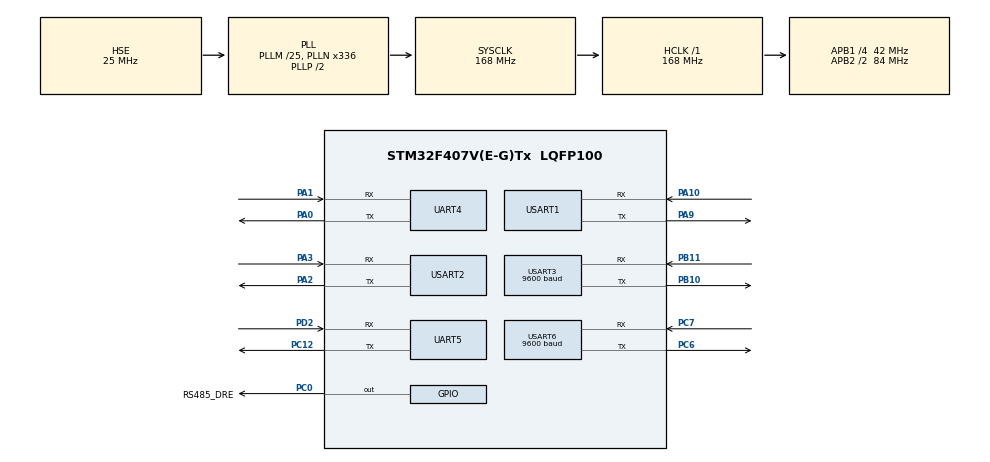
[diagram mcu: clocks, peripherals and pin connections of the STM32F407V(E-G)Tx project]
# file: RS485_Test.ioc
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Mcu.Family=STM32F4
Mcu.Name=STM32F407V(E-G)Tx
Mcu.Package=LQFP100
NVIC.PriorityGroup=NVIC_PRIORITYGROUP_4
NVIC.UART4_IRQn=true\:0\:0\:false\:false\:true\:true\:true\:true
NVIC.UART5_IRQn=true\:0\:0\:false\:false\:true\:true\:true\:true
NVIC.USART1_IRQn=true\:0\:0\:false\:false\:true\:true\:true\:true
NVIC.USART2_IRQn=true\:0\:0\:false\:false\:true\:true\:true\:true
NVIC.USART3_IRQn=true\:0\:0\:false\:false\:true\:true\:true\:true
NVIC.USART6_IRQn=true\:0\:0\:false\:false\:true\:true\:true\:true
PA0-WKUP.Mode=Asynchronous
PA0-WKUP.Signal=UART4_TX
PA1.Mode=Asynchronous
PA1.Signal=UART4_RX
PA10.Mode=Asynchronous
PA10.Signal=USART1_RX
PA13.Mode=Serial_Wire
PA13.Signal=SYS_JTMS-SWDIO
PA14.Mode=Serial_Wire
PA14.Signal=SYS_JTCK-SWCLK
PA2.Mode=Asynchronous
PA2.Signal=USART2_TX
PA3.Mode=Asynchronous
PA3.Signal=USART2_RX
PA9.Mode=Asynchronous
PA9.Signal=USART1_TX
PB10.Mode=Asynchronous
PB10.Signal=USART3_TX
PB11.Mode=Asynchronous
PB11.Signal=USART3_RX
PC0.GPIO_Label=RS485_DRE
PC0.Signal=GPIO_Output
PC12.Mode=Asynchronous
PC12.Signal=UART5_TX
PC6.Mode=Asynchronous
PC6.Signal=USART6_TX
PC7.Mode=Asynchronous
PC7.Signal=USART6_RX
PD2.Mode=Asynchronous
PD2.Signal=UART5_RX
PH0-OSC_IN.Mode=HSE-External-Oscillator
PH0-OSC_IN.Signal=RCC_OSC_IN
PH1-OSC_OUT.Mode=HSE-External-Oscillator
PH1-OSC_OUT.Signal=RCC_OSC_OUT
ProjectManager.HeapSize=0x200
ProjectManager.StackSize=0x400
ProjectManager.TargetToolchain=STM32CubeIDE
RCC.48MHZClocksFreq_Value=84000000
RCC.AHBFreq_Value=168000000
RCC.APB1CLKDivider=RCC_HCLK_DIV4
RCC.APB1Freq_Value=42000000
RCC.APB1TimFreq_Value=84000000
RCC.APB2CLKDivider=RCC_HCLK_DIV2
RCC.APB2Freq_Value=84000000
RCC.APB2TimFreq_Value=168000000
RCC.CortexFreq_Value=168000000
RCC.HCLKFreq_Value=168000000
RCC.HSE_VALUE=25000000
RCC.HSI_VALUE=16000000
RCC.LSE_VALUE=32768
RCC.PLLM=25
RCC.PLLN=336
RCC.PLLSourceVirtual=RCC_PLLSOURCE_HSE
RCC.SYSCLKFreq_VALUE=168000000
RCC.SYSCLKSource=RCC_SYSCLKSOURCE_PLLCLK
RCC.VCOOutputFreq_Value=336000000
UART4.VirtualMode=Asynchronous
UART5.VirtualMode=Asynchronous
USART1.VirtualMode=VM_ASYNC
USART2.VirtualMode=VM_ASYNC
USART3.BaudRate=9600
USART3.VirtualMode=VM_ASYNC
USART6.BaudRate=9600
USART6.VirtualMode=VM_ASYNC
board=custom

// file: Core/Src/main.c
/* USER CODE BEGIN Header */
/**
  ******************************************************************************
  * @file           : main.c
  * @brief          : Main program body
  ******************************************************************************
  * @attention
  *
  * Copyright (c) 2023 STMicroelectronics.
  * All rights reserved.
  *
  * This software is licensed under terms that can be found in the LICENSE file
  * in the root directory of this software component.
  * If no LICENSE file comes with this software, it is provided AS-IS.
  *
  ******************************************************************************
  */
/* USER CODE END Header */
#include "main.h"

/* USER CODE BEGIN Includes */
#include "CRC.h"
#include "STM_LOG.h"
#include "string.h"
/* USER CODE END Includes */

UART_HandleTypeDef huart4;
UART_HandleTypeDef huart5;
UART_HandleTypeDef huart1;
UART_HandleTypeDef huart2;
UART_HandleTypeDef huart3;
UART_HandleTypeDef huart6;

void SystemClock_Config(void);
static void MX_GPIO_Init(void);
static void MX_UART4_Init(void);
static void MX_UART5_Init(void);
static void MX_USART1_UART_Init(void);
static void MX_USART2_UART_Init(void);
static void MX_USART3_UART_Init(void);
static void MX_USART6_UART_Init(void);
/* USER CODE BEGIN PFP */
#define ESP_UART_BufSize 50
#define RS232_UART_BufSize 8
#define RS485_UART_BufSize 8

#define PT100_ADDR  		0x01
#define PT100_FUNC_READ  	0x03
#define PT100_FUNC_WRITE 	0x06
#define PT100_TEMP_REG  	0x00
#define PT100_RES_REG   	0x01
#define PT100_ADDR_REG 		0x02
#define PT100_BAUD_REG 		0x03
/* USER CODE END PFP */

/* USER CODE BEGIN 0 */
char ESP_UART_Buf[ESP_UART_BufSize];

uint8_t RS485_RxData[RS485_UART_BufSize];
uint8_t RS485_TxData[RS485_UART_BufSize];
volatile uint8_t RS485_RxFlag = 0;

uint8_t RS232_RxData[RS232_UART_BufSize];
uint8_t RS232_TxData[RS232_UART_BufSize] = {1, 2, 3, 4, 5, 6, 7, 8};
volatile uint8_t RS232_RxFlag = 0;

__IO uint32_t tick = 0;
const char *TAG = "STM32";

void ModBus_Transmit(uint8_t ID, uint8_t Code, uint16_t Reg_Address, uint8_t Data_Len);
float PT100_ReadTemperature(void);
float PT100_ReadResistance(void);
uint32_t Pt100_ReadBaudRate(void);
uint8_t PT100_ReadAddress(void);

void STM_LOG_Set(char *buf){
	HAL_UART_Transmit(&huart1, (uint8_t *)buf, strlen(buf), 1000);
}

/* USER CODE END 0 */

int main(void)
{

  /* MCU Configuration--------------------------------------------------------*/

  /* Reset of all peripherals, Initializes the Flash interface and the Systick. */
  HAL_Init();

  /* Configure the system clock */
  SystemClock_Config();

  /* Initialize all configured peripherals */
  MX_GPIO_Init();
  MX_UART4_Init();
  MX_UART5_Init();
  MX_USART1_UART_Init();
  MX_USART2_UART_Init();
  MX_USART3_UART_Init();
  MX_USART6_UART_Init();
  /* USER CODE BEGIN 2 */

	STM_LOG_Init(STM_LOG_Set);
	STM_LOG(BOLD_GREEN, TAG, "LOG OKE. ");

  	HAL_GPIO_WritePin(RS485_DRE_GPIO_Port, RS485_DRE_Pin, GPIO_PIN_RESET);

//  	HAL_UARTEx_ReceiveToIdle_IT(&huart1, (uint8_t *)ESP_UART_Buf, ESP_UART_BufSize);
//  	HAL_UARTEx_ReceiveToIdle_IT(&huart3, (uint8_t *)RS232_RxData, RS232_UART_BufSize);
  	HAL_UARTEx_ReceiveToIdle_IT(&huart6, (uint8_t *)RS485_RxData, RS485_UART_BufSize);

	tick = HAL_GetTick();
  /* USER CODE END 2 */

  /* Infinite loop */
  while (1)
  {

    /* USER CODE BEGIN 3 */
	  if(HAL_GetTick() - tick > 1000){
			PT100_ReadTemperature();
			PT100_ReadResistance();
//			HAL_UART_Transmit(&huart1, "Hello ESP32!", strlen("Hello ESP32!"), 1000);

//			HAL_UART_Transmit(&huart3, RS232_TxData, RS232_UART_BufSize, 1000);
			tick = HAL_GetTick();
	  }
  }
  /* USER CODE END 3 */
}

void SystemClock_Config(void)
{
  RCC_OscInitTypeDef RCC_OscInitStruct = {0};
  RCC_ClkInitTypeDef RCC_ClkInitStruct = {0};

  /** Configure the main internal regulator output voltage
  */
  __HAL_RCC_PWR_CLK_ENABLE();
  __HAL_PWR_VOLTAGESCALING_CONFIG(PWR_REGULATOR_VOLTAGE_SCALE1);

  /** Initializes the RCC Oscillators according to the specified parameters
  * in the RCC_OscInitTypeDef structure.
  */
  RCC_OscInitStruct.OscillatorType = RCC_OSCILLATORTYPE_HSE;
  RCC_OscInitStruct.HSEState = RCC_HSE_ON;
  RCC_OscInitStruct.PLL.PLLState = RCC_PLL_ON;
  RCC_OscInitStruct.PLL.PLLSource = RCC_PLLSOURCE_HSE;
  RCC_OscInitStruct.PLL.PLLM = 25;
  RCC_OscInitStruct.PLL.PLLN = 336;
  RCC_OscInitStruct.PLL.PLLP = RCC_PLLP_DIV2;
  RCC_OscInitStruct.PLL.PLLQ = 4;
  if (HAL_RCC_OscConfig(&RCC_OscInitStruct) != HAL_OK)
  {
    Error_Handler();
  }

  /** Initializes the CPU, AHB and APB buses clocks
  */
  RCC_ClkInitStruct.ClockType = RCC_CLOCKTYPE_HCLK|RCC_CLOCKTYPE_SYSCLK
                              |RCC_CLOCKTYPE_PCLK1|RCC_CLOCKTYPE_PCLK2;
  RCC_ClkInitStruct.SYSCLKSource = RCC_SYSCLKSOURCE_PLLCLK;
  RCC_ClkInitStruct.AHBCLKDivider = RCC_SYSCLK_DIV1;
  RCC_ClkInitStruct.APB1CLKDivider = RCC_HCLK_DIV4;
  RCC_ClkInitStruct.APB2CLKDivider = RCC_HCLK_DIV2;

  if (HAL_RCC_ClockConfig(&RCC_ClkInitStruct, FLASH_LATENCY_5) != HAL_OK)
  {
    Error_Handler();
  }
}

static void MX_UART4_Init(void)
{

  huart4.Instance = UART4;
  huart4.Init.BaudRate = 115200;
  huart4.Init.WordLength = UART_WORDLENGTH_8B;
  huart4.Init.StopBits = UART_STOPBITS_1;
  huart4.Init.Parity = UART_PARITY_NONE;
  huart4.Init.Mode = UART_MODE_TX_RX;
  huart4.Init.HwFlowCtl = UART_HWCONTROL_NONE;
  huart4.Init.OverSampling = UART_OVERSAMPLING_16;
  if (HAL_UART_Init(&huart4) != HAL_OK)
  {
    Error_Handler();
  }

}

static void MX_UART5_Init(void)
{

  huart5.Instance = UART5;
  huart5.Init.BaudRate = 115200;
  huart5.Init.WordLength = UART_WORDLENGTH_8B;
  huart5.Init.StopBits = UART_STOPBITS_1;
  huart5.Init.Parity = UART_PARITY_NONE;
  huart5.Init.Mode = UART_MODE_TX_RX;
  huart5.Init.HwFlowCtl = UART_HWCONTROL_NONE;
  huart5.Init.OverSampling = UART_OVERSAMPLING_16;
  if (HAL_UART_Init(&huart5) != HAL_OK)
  {
    Error_Handler();
  }

}

static void MX_USART1_UART_Init(void)
{

  huart1.Instance = USART1;
  huart1.Init.BaudRate = 115200;
  huart1.Init.WordLength = UART_WORDLENGTH_8B;
  huart1.Init.StopBits = UART_STOPBITS_1;
  huart1.Init.Parity = UART_PARITY_NONE;
  huart1.Init.Mode = UART_MODE_TX_RX;
  huart1.Init.HwFlowCtl = UART_HWCONTROL_NONE;
  huart1.Init.OverSampling = UART_OVERSAMPLING_16;
  if (HAL_UART_Init(&huart1) != HAL_OK)
  {
    Error_Handler();
  }

}

static void MX_USART2_UART_Init(void)
{

  huart2.Instance = USART2;
  huart2.Init.BaudRate = 115200;
  huart2.Init.WordLength = UART_WORDLENGTH_8B;
  huart2.Init.StopBits = UART_STOPBITS_1;
  huart2.Init.Parity = UART_PARITY_NONE;
  huart2.Init.Mode = UART_MODE_TX_RX;
  huart2.Init.HwFlowCtl = UART_HWCONTROL_NONE;
  huart2.Init.OverSampling = UART_OVERSAMPLING_16;
  if (HAL_UART_Init(&huart2) != HAL_OK)
  {
    Error_Handler();
  }

}

static void MX_USART3_UART_Init(void)
{

  huart3.Instance = USART3;
  huart3.Init.BaudRate = 9600;
  huart3.Init.WordLength = UART_WORDLENGTH_8B;
  huart3.Init.StopBits = UART_STOPBITS_1;
  huart3.Init.Parity = UART_PARITY_NONE;
  huart3.Init.Mode = UART_MODE_TX_RX;
  huart3.Init.HwFlowCtl = UART_HWCONTROL_NONE;
  huart3.Init.OverSampling = UART_OVERSAMPLING_16;
  if (HAL_UART_Init(&huart3) != HAL_OK)
  {
    Error_Handler();
  }

}

static void MX_USART6_UART_Init(void)
{

  huart6.Instance = USART6;
  huart6.Init.BaudRate = 9600;
  huart6.Init.WordLength = UART_WORDLENGTH_8B;
  huart6.Init.StopBits = UART_STOPBITS_1;
  huart6.Init.Parity = UART_PARITY_NONE;
  huart6.Init.Mode = UART_MODE_TX_RX;
  huart6.Init.HwFlowCtl = UART_HWCONTROL_NONE;
  huart6.Init.OverSampling = UART_OVERSAMPLING_16;
  if (HAL_UART_Init(&huart6) != HAL_OK)
  {
    Error_Handler();
  }

}

static void MX_GPIO_Init(void)
{
  GPIO_InitTypeDef GPIO_InitStruct = {0};

  /* GPIO Ports Clock Enable */
  __HAL_RCC_GPIOH_CLK_ENABLE();
  __HAL_RCC_GPIOC_CLK_ENABLE();
  __HAL_RCC_GPIOA_CLK_ENABLE();
  __HAL_RCC_GPIOB_CLK_ENABLE();
  __HAL_RCC_GPIOD_CLK_ENABLE();

  /*Configure GPIO pin Output Level */
  HAL_GPIO_WritePin(RS485_DRE_GPIO_Port, RS485_DRE_Pin, GPIO_PIN_RESET);

  /*Configure GPIO pin : RS485_DRE_Pin */
  GPIO_InitStruct.Pin = RS485_DRE_Pin;
  GPIO_InitStruct.Mode = GPIO_MODE_OUTPUT_PP;
  GPIO_InitStruct.Pull = GPIO_NOPULL;
  GPIO_InitStruct.Speed = GPIO_SPEED_FREQ_LOW;
  HAL_GPIO_Init(RS485_DRE_GPIO_Port, &GPIO_InitStruct);

}

/* USER CODE BEGIN 4 */

void HAL_UARTEx_RxEventCallback(UART_HandleTypeDef *huart, uint16_t Size){
	if(huart -> Instance == USART1){
		STM_LOG(BOLD_YELLOW, TAG, "Receive: %s", ESP_UART_Buf);
		memset(ESP_UART_Buf, '\0', ESP_UART_BufSize);
		HAL_UARTEx_ReceiveToIdle_IT(&huart1, (uint8_t *)ESP_UART_Buf, ESP_UART_BufSize);
	}
	if(huart -> Instance == USART3){
		RS232_RxFlag = 1;
		STM_LOG(BOLD_RED, "RS232", "RS232 Receive: %s", RS232_RxData);
		memset(RS232_RxData, '\0', RS232_UART_BufSize);
		HAL_UARTEx_ReceiveToIdle_IT(&huart3, (uint8_t *)RS232_RxData, RS232_UART_BufSize);
	}
	if(huart -> Instance == USART6){
		RS485_RxFlag = 1;
		HAL_UARTEx_ReceiveToIdle_IT(&huart6, (uint8_t *)RS485_RxData, RS485_UART_BufSize);
	}
}

void ModBus_Transmit(uint8_t ID, uint8_t Code, uint16_t Reg_Address, uint8_t Data_Len){
	RS485_TxData[0] = ID;  // slave address
	RS485_TxData[1] = Code;  // Function code

	RS485_TxData[2] = (uint8_t)((Reg_Address & 0xFF00) >> 8);
	RS485_TxData[3] = (uint8_t)(Reg_Address & 0xFF);
	//The Register address

	RS485_TxData[4] = (uint8_t)((Data_Len & 0xFF00) >> 8);
	RS485_TxData[5] = (uint8_t)(Data_Len & 0xFF);
	// no of registers to read

	uint16_t crc = crc16(RS485_TxData, 6);
	RS485_TxData[6] = crc & 0xFF;   		// CRC LOW
	RS485_TxData[7] = (crc >> 8) & 0xFF;    // CRC HIGH

	HAL_GPIO_WritePin(RS485_DRE_GPIO_Port, RS485_DRE_Pin, GPIO_PIN_SET);
	HAL_UART_Transmit(&huart6, RS485_TxData, 8, 1000);
	HAL_GPIO_WritePin(RS485_DRE_GPIO_Port, RS485_DRE_Pin, GPIO_PIN_RESET);
}

float PT100_ReadTemperature(void){
	ModBus_Transmit(PT100_ADDR, PT100_FUNC_READ, PT100_TEMP_REG, 0x01);

//	while(RS485_RxFlag == 0);
	RS485_RxFlag = 0;

	float tmp = (float)((uint16_t)((RS485_RxData[3] << 8) | RS485_RxData[4]) / 10.0);
	memset(RS485_RxData, '\0', 8);
	STM_LOG(BOLD_YELLOW, TAG, "Temperature %f", tmp);

	return tmp;
}

float PT100_ReadResistance(void){
	ModBus_Transmit(PT100_ADDR, PT100_FUNC_READ, PT100_RES_REG, 0x01);

//	while(RS485_RxFlag == 0);
	RS485_RxFlag = 0;

	float res = (float)((uint16_t)((RS485_RxData[3] << 8) | RS485_RxData[4]) / 10.0);
	memset(RS485_RxData, '\0', 8);
	STM_LOG(BOLD_CYAN, TAG, "Resistance %f", res);

	return res;
}

uint32_t Pt100_ReadBaudRate(void){
	ModBus_Transmit(PT100_ADDR, PT100_FUNC_READ, PT100_BAUD_REG, 0x01);

	while(RS485_RxFlag == 0);
	RS485_RxFlag = 0;

	uint32_t Baud = 1200U << RS485_RxData[4];
	memset(RS485_RxData, '\0', 8);
	STM_LOG(BOLD_GREEN, TAG, "PT100 Current Baudrate: %d. ", Baud);
	return Baud;
}

uint8_t PT100_ReadAddress(void){
	ModBus_Transmit(PT100_ADDR, PT100_FUNC_READ, PT100_ADDR_REG, 0x01);

	while(RS485_RxFlag == 0);
	RS485_RxFlag = 0;

	uint8_t Addr = RS485_RxData[4];
	memset(RS485_RxData, '\0', 8);
	STM_LOG(BOLD_GREEN, TAG, "PT100 Current Address: 0x%02x. ", Addr);
	return Addr;
}
/* USER CODE END 4 */

void Error_Handler(void)
{
  __disable_irq();
  while (1)
  {
  }
}
